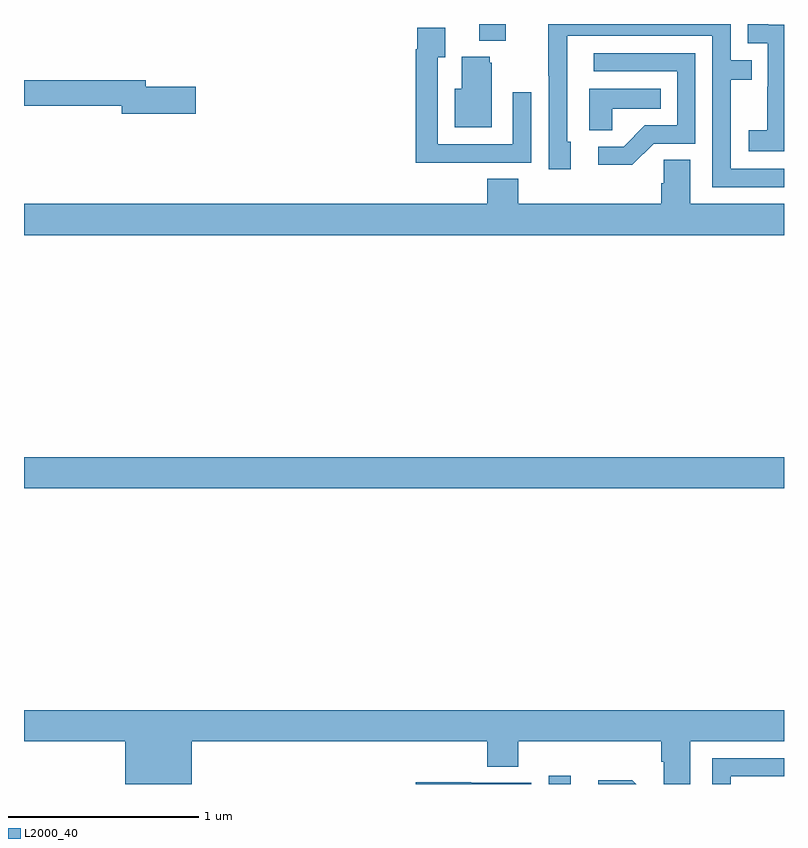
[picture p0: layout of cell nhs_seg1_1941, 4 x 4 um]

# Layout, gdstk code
import gdstk
lib = gdstk.Library(unit=1e-6, precision=1e-09)
def R(c, l, rs):  # rectangles x0, y0, x1, y1
    for r in rs: c.add(gdstk.rectangle(r[:2], r[2:], *l))
def P(c, l, *ps):  # polygons
    for p in ps: c.add(gdstk.Polygon(p, *l))
L2000_40 = (2000, 40)

nhs_seg1_1941 = lib.new_cell('nhs_seg1_1941')
R(nhs_seg1_1941, L2000_40, [(219.762,526.199,219.877,526.243), (217,527.756,221,527.92), (219.395,530.111,219.535,530.199)])
P(nhs_seg1_1941, L2000_40, [(221,529.437),(220.719,529.437),(220.719,529.906),(220.829,529.906),(220.829,530.007),(220.719,530.007),(220.719,530.199),(219.76,530.199),(219.76,529.927),(219.762,529.927),(219.762,529.434),(219.877,529.434),(219.877,529.578),(219.858,529.578),(219.858,530.136),(220.623,530.136),(220.623,529.341),(221,529.341)],
  [(221,530.196),(220.918,530.196),(220.918,530.199),(220.809,530.199),(220.809,530.097),(220.914,530.097),(220.914,529.868),(220.913,529.868),(220.913,529.639),(220.815,529.639),(220.815,529.529),(221,529.529)],
  [(219.353,529.47),(219.669,529.47),(219.669,529.84),(219.573,529.84),(219.573,529.566),(219.177,529.566),(219.177,530.023),(219.217,530.023),(219.217,530.179),(219.069,530.179),(219.069,530.066),(219.061,530.066),(219.061,529.469),(219.353,529.469)],
  [(220.314,529.569),(220.533,529.569),(220.533,530.046),(219.999,530.046),(219.999,529.95),(220.437,529.95),(220.437,529.665),(220.268,529.665),(220.157,529.554),(220.023,529.554),(220.023,529.457),(220.201,529.457)],
  [(219.463,529.995),(219.452,529.995),(219.452,530.026),(219.305,530.026),(219.305,529.858),(219.266,529.858),(219.266,529.655),(219.463,529.655)],
  [(217.903,529.868),(217.642,529.868),(217.642,529.904),(217,529.904),(217,529.768),(217.514,529.768),(217.514,529.726),(217.903,529.726)],
  [(220.095,529.754),(220.352,529.754),(220.352,529.858),(219.974,529.858),(219.974,529.639),(220.095,529.639)],
  [(221,529.252),(220.507,529.252),(220.507,529.484),(220.368,529.484),(220.368,529.361),(220.355,529.361),(220.355,529.252),(219.602,529.252),(219.602,529.385),(219.437,529.385),(219.437,529.252),(217,529.252),(217,529.088),(221,529.088)],
  [(217.882,526.424),(219.437,526.424),(219.437,526.291),(219.602,526.291),(219.602,526.424),(220.355,526.424),(220.355,526.315),(220.368,526.315),(220.368,526.199),(220.507,526.199),(220.507,526.424),(221,526.424),(221,526.588),(217,526.588),(217,526.424),(217.532,526.424),(217.532,526.199),(217.882,526.199)],
  [(220.719,526.239),(221,526.239),(221,526.335),(220.623,526.335),(220.623,526.199),(220.719,526.199)],
  [(220.201,526.22),(220.023,526.22),(220.023,526.199),(220.222,526.199)],
  [(219.669,526.206),(219.353,526.206),(219.353,526.208),(219.061,526.208),(219.061,526.199),(219.669,526.199)])

lib.write_gds('nhs_seg1_1941.gds')
